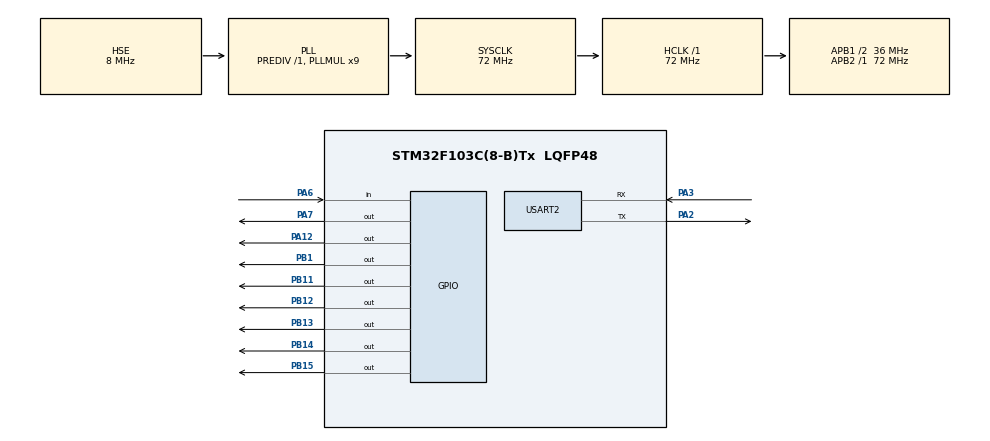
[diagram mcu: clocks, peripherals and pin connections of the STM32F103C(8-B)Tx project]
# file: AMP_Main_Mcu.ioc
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Dma.Request0=USART2_TX
Dma.USART2_TX.0.Direction=DMA_MEMORY_TO_PERIPH
Dma.USART2_TX.0.Instance=DMA1_Channel7
Dma.USART2_TX.0.MemDataAlignment=DMA_MDATAALIGN_BYTE
Dma.USART2_TX.0.MemInc=DMA_MINC_ENABLE
Dma.USART2_TX.0.Mode=DMA_CIRCULAR
Dma.USART2_TX.0.PeriphDataAlignment=DMA_PDATAALIGN_BYTE
Dma.USART2_TX.0.PeriphInc=DMA_PINC_DISABLE
Dma.USART2_TX.0.Priority=DMA_PRIORITY_LOW
FREERTOS.Tasks01=defaultTask,0,128,StartDefaultTask,Default,NULL,Dynamic,NULL,NULL
FREERTOS.configUSE_TICK_HOOK=1
Mcu.Family=STM32F1
Mcu.Name=STM32F103C(8-B)Tx
Mcu.Package=LQFP48
NVIC.DMA1_Channel7_IRQn=true\:5\:0\:false\:false\:true\:true\:false\:true\:true
NVIC.PriorityGroup=NVIC_PRIORITYGROUP_4
NVIC.TIM1_UP_IRQn=true\:15\:0\:false\:false\:true\:false\:false\:true\:true
NVIC.TimeBase=TIM1_UP_IRQn
NVIC.TimeBaseIP=TIM1
NVIC.USART2_IRQn=true\:5\:0\:false\:false\:true\:true\:true\:true\:true
PA12.GPIO_PuPd=GPIO_PULLUP
PA12.PinState=GPIO_PIN_SET
PA12.Signal=GPIO_Output
PA13.Mode=Serial_Wire
PA13.Signal=SYS_JTMS-SWDIO
PA14.Mode=Serial_Wire
PA14.Signal=SYS_JTCK-SWCLK
PA2.Mode=Asynchronous
PA2.Signal=USART2_TX
PA3.Mode=Asynchronous
PA3.Signal=USART2_RX
PA6.Signal=GPIO_Input
PA7.GPIO_PuPd=GPIO_PULLUP
PA7.Signal=GPIO_Output
PB1.GPIO_PuPd=GPIO_PULLUP
PB1.PinState=GPIO_PIN_SET
PB1.Signal=GPIO_Output
PB11.GPIO_PuPd=GPIO_PULLUP
PB11.PinState=GPIO_PIN_SET
PB11.Signal=GPIO_Output
PB12.GPIO_PuPd=GPIO_PULLUP
PB12.PinState=GPIO_PIN_SET
PB12.Signal=GPIO_Output
PB13.GPIO_PuPd=GPIO_PULLUP
PB13.PinState=GPIO_PIN_SET
PB13.Signal=GPIO_Output
PB14.GPIO_PuPd=GPIO_PULLUP
PB14.PinState=GPIO_PIN_SET
PB14.Signal=GPIO_Output
PB15.GPIO_PuPd=GPIO_PULLUP
PB15.PinState=GPIO_PIN_SET
PB15.Signal=GPIO_Output
PD0-OSC_IN.Mode=HSE-External-Oscillator
PD0-OSC_IN.Signal=RCC_OSC_IN
PD1-OSC_OUT.Mode=HSE-External-Oscillator
PD1-OSC_OUT.Signal=RCC_OSC_OUT
ProjectManager.HeapSize=0x200
ProjectManager.StackSize=0x400
ProjectManager.TargetToolchain=MDK-ARM V5.32
RCC.AHBFreq_Value=72000000
RCC.APB1CLKDivider=RCC_HCLK_DIV2
RCC.APB1Freq_Value=36000000
RCC.APB1TimFreq_Value=72000000
RCC.APB2Freq_Value=72000000
RCC.APB2TimFreq_Value=72000000
RCC.HCLKFreq_Value=72000000
RCC.PLLMUL=RCC_PLL_MUL9
RCC.PLLSourceVirtual=RCC_PLLSOURCE_HSE
RCC.SYSCLKFreq_VALUE=72000000
RCC.SYSCLKSource=RCC_SYSCLKSOURCE_PLLCLK
RCC.USBFreq_Value=72000000
USART2.VirtualMode=VM_ASYNC
VP_FREERTOS_VS_CMSIS_V1.Mode=CMSIS_V1
VP_SYS_VS_tim1.Mode=TIM1
board=custom

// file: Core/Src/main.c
/* USER CODE BEGIN Header */
/**
  ******************************************************************************
  * @file           : main.c
  * @brief          : Main program body
  ******************************************************************************
  * @attention
  *
  * Copyright (c) 2025 STMicroelectronics.
  * All rights reserved.
  *
  * This software is licensed under terms that can be found in the LICENSE file
  * in the root directory of this software component.
  * If no LICENSE file comes with this software, it is provided AS-IS.
  *
  ******************************************************************************
  */
/* USER CODE END Header */
#include "main.h"
#include "cmsis_os.h"
#include "dma.h"
#include "usart.h"
#include "gpio.h"

/* USER CODE BEGIN Includes */
#include "lcd.h"
#include "test code.h"
#include "lvgl_task.h"
#include "lvgl.h"
#include "lv_port_disp_template.h"
/* USER CODE END Includes */

/* USER CODE BEGIN PD */
#define RX_BUF_SIZE  64
#define TX_BUF_SIZE  64

uint8_t uart2_rx_buf[RX_BUF_SIZE];
uint8_t uart2_tx_buf[TX_BUF_SIZE];
/* USER CODE END PD */

void SystemClock_Config(void);
void MX_FREERTOS_Init(void);

int main(void)
{

  /* MCU Configuration--------------------------------------------------------*/

  /* Reset of all peripherals, Initializes the Flash interface and the Systick. */
  HAL_Init();

  /* Configure the system clock */
  SystemClock_Config();

  /* Initialize all configured peripherals */
  MX_GPIO_Init();
  MX_DMA_Init();
  MX_USART2_UART_Init();
  /* USER CODE BEGIN 2 */
	HAL_Delay(10);
	HAL_GPIO_WritePin(GPIOA,GPIO_PIN_7,1);//SPI_RST=1;

	LCD_Init();			   	//初始化LCD
	LCD_Display_Dir(USE_LCM_DIR);		 		//屏幕方向
	LCD_Clear(WHITE);		//清屏

	main_test("IC:ST7789");		  //测试主页
	Color_Test();								//纯色测试

		FillRec_Test();							//图形测试

//
//	//Read_Test();								//读颜色测试
//	English_Font_test();				//英文测试
//	Chinese_Font_test();				//中文测试
//	Pic_test();									//图片测试
//	Switch_test();							//显示开关测试
//	Rotate_Test();							//旋转测试
//		HAL_GPIO_WritePin(GPIOA,GPIO_PIN_11,0);
		//lvgl_task();

  /* USER CODE END 2 */

  /* Call init function for freertos objects (in cmsis_os2.c) */
  MX_FREERTOS_Init();

  /* Start scheduler */
  osKernelStart();

  /* We should never get here as control is now taken by the scheduler */

  /* Infinite loop */
  while (1)
  {

  }
}

void SystemClock_Config(void)
{
  RCC_OscInitTypeDef RCC_OscInitStruct = {0};
  RCC_ClkInitTypeDef RCC_ClkInitStruct = {0};

  /** Initializes the RCC Oscillators according to the specified parameters
  * in the RCC_OscInitTypeDef structure.
  */
  RCC_OscInitStruct.OscillatorType = RCC_OSCILLATORTYPE_HSE;
  RCC_OscInitStruct.HSEState = RCC_HSE_ON;
  RCC_OscInitStruct.HSEPredivValue = RCC_HSE_PREDIV_DIV1;
  RCC_OscInitStruct.HSIState = RCC_HSI_ON;
  RCC_OscInitStruct.PLL.PLLState = RCC_PLL_ON;
  RCC_OscInitStruct.PLL.PLLSource = RCC_PLLSOURCE_HSE;
  RCC_OscInitStruct.PLL.PLLMUL = RCC_PLL_MUL9;
  if (HAL_RCC_OscConfig(&RCC_OscInitStruct) != HAL_OK)
  {
    Error_Handler();
  }

  /** Initializes the CPU, AHB and APB buses clocks
  */
  RCC_ClkInitStruct.ClockType = RCC_CLOCKTYPE_HCLK|RCC_CLOCKTYPE_SYSCLK
                              |RCC_CLOCKTYPE_PCLK1|RCC_CLOCKTYPE_PCLK2;
  RCC_ClkInitStruct.SYSCLKSource = RCC_SYSCLKSOURCE_PLLCLK;
  RCC_ClkInitStruct.AHBCLKDivider = RCC_SYSCLK_DIV1;
  RCC_ClkInitStruct.APB1CLKDivider = RCC_HCLK_DIV2;
  RCC_ClkInitStruct.APB2CLKDivider = RCC_HCLK_DIV1;

  if (HAL_RCC_ClockConfig(&RCC_ClkInitStruct, FLASH_LATENCY_2) != HAL_OK)
  {
    Error_Handler();
  }
}

void HAL_TIM_PeriodElapsedCallback(TIM_HandleTypeDef *htim)
{
  if (htim->Instance == TIM1) {
    HAL_IncTick();
  }
}

void Error_Handler(void)
{
  __disable_irq();
  while (1)
  {
  }
}

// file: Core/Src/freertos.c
/* USER CODE BEGIN Header */
/**
  ******************************************************************************
  * File Name          : freertos.c
  * Description        : Code for freertos applications
  ******************************************************************************
  * @attention
  *
  * Copyright (c) 2025 STMicroelectronics.
  * All rights reserved.
  *
  * This software is licensed under terms that can be found in the LICENSE file
  * in the root directory of this software component.
  * If no LICENSE file comes with this software, it is provided AS-IS.
  *
  ******************************************************************************
  */
/* USER CODE END Header */

#include "FreeRTOS.h"
#include "task.h"
#include "main.h"
#include "cmsis_os.h"

/* USER CODE BEGIN Includes */

#include "lvgl.h"
#include "lv_port_disp_template.h"
/* USER CODE END Includes */

osThreadId defaultTaskHandle;

void StartDefaultTask(void const * argument);

void MX_FREERTOS_Init(void); /* (MISRA C 2004 rule 8.1) */

/* GetIdleTaskMemory prototype (linked to static allocation support) */
void vApplicationGetIdleTaskMemory( StaticTask_t **ppxIdleTaskTCBBuffer, StackType_t **ppxIdleTaskStackBuffer, uint32_t *pulIdleTaskStackSize );

/* Hook prototypes */
void vApplicationTickHook(void);

/* USER CODE BEGIN 3 */
__weak void vApplicationTickHook( void )
{
   /* This function will be called by each tick interrupt if
   configUSE_TICK_HOOK is set to 1 in FreeRTOSConfig.h. User code can be
   added here, but the tick hook is called from an interrupt context, so
   code must not attempt to block, and only the interrupt safe FreeRTOS API
   functions can be used (those that end in FromISR()). */
		lv_tick_inc(1);         //lvgl heart beat

}
/* USER CODE END 3 */

/* USER CODE BEGIN GET_IDLE_TASK_MEMORY */
static StaticTask_t xIdleTaskTCBBuffer;
static StackType_t xIdleStack[configMINIMAL_STACK_SIZE];

void vApplicationGetIdleTaskMemory( StaticTask_t **ppxIdleTaskTCBBuffer, StackType_t **ppxIdleTaskStackBuffer, uint32_t *pulIdleTaskStackSize )
{
  *ppxIdleTaskTCBBuffer = &xIdleTaskTCBBuffer;
  *ppxIdleTaskStackBuffer = &xIdleStack[0];
  *pulIdleTaskStackSize = configMINIMAL_STACK_SIZE;
  /* place for user code */
}
/* USER CODE END GET_IDLE_TASK_MEMORY */

void MX_FREERTOS_Init(void) {

  /* Create the thread(s) */
  /* definition and creation of defaultTask */
  osThreadDef(defaultTask, StartDefaultTask, osPriorityNormal, 0, 128);
  defaultTaskHandle = osThreadCreate(osThread(defaultTask), NULL);

}

void StartDefaultTask(void const * argument)
{
  for(;;)
  {
    osDelay(1);
  }
}
